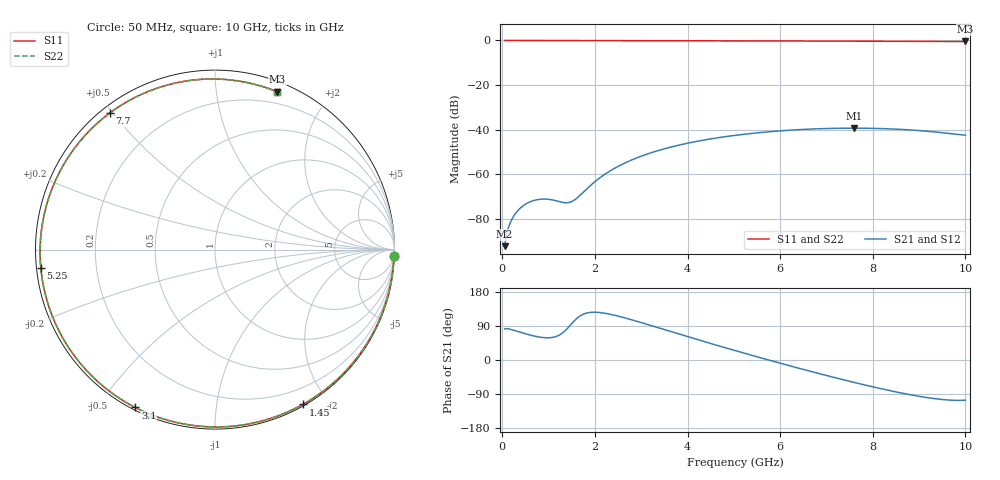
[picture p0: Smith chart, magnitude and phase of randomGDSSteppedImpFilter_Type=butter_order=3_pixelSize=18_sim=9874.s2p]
! freq	dB(S11)	phase(S11)	dB(S12)	phase(S12)
!  dB(S21)	phase(S21)	dB(S22)	phase(S22)
!S-par simulation data
#  GHz  S  DB  R 50
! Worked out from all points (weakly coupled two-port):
!   200 points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, 50 MHz to 10 GHz, reference 50 ohm
!   highest |S21| = -39.28 dB at 7.6 GHz (marker M1); lowest = -92.1 dB at 50 MHz (marker M2)
!   lowest |S11| = -0.5 dB at 10 GHz (marker M3), VSWR 35.41, Z = 4.45 + j73.3 ohm
!   |S11| at or under -10 dB: nowhere
!   |S22| runs from -0.5 to 0.0 dB; largest |S21 - S12| = 0
!   S11 on the Smith chart (normalised r, x): 50 MHz: 4, -52; 1.45 GHz: 0.02, -1.72; 3.1 GHz: 0.01, -0.62; 5.25 GHz: 0.01, -0.05; 7.7 GHz: 0.02, +0.49; 10 GHz: 0.09, +1.47
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0.05  -0.02 -2.2  -92.10 82.0  -92.10 82.0  -0.02 -2.2
0.2  -0.03 -8.7  -80.34 80.1  -80.34 80.1  -0.03 -8.7
0.4  -0.03 -17.3  -74.85 72.8  -74.85 72.8  -0.03 -17.3
0.7  -0.04 -30.1  -71.55 62.9  -71.55 62.9  -0.04 -30.1
0.95  -0.05 -40.5  -71.04 58.6  -71.04 58.6  -0.05 -40.5
1.45  -0.07 -60.4  -72.50 89.3  -72.50 89.3  -0.07 -60.4
1.55  -0.08 -64.3  -71.53 102.9  -71.53 102.9  -0.08 -64.2
1.75  -0.09 -71.8  -67.91 120.9  -67.91 120.9  -0.09 -71.7
2.05  -0.10 -82.6  -62.39 125.8  -62.39 125.8  -0.10 -82.6
2.35  -0.11 -93.0  -58.14 120.2  -58.14 120.2  -0.11 -92.9
3.1  -0.13 -116.8  -51.07 95.1  -51.07 95.1  -0.13 -116.7
3.4  -0.14 -125.6  -49.09 84.0  -49.09 84.0  -0.14 -125.6
4.2  -0.17 -147.6  -45.18 54.4  -45.18 54.4  -0.17 -147.5
5.05  -0.20 -169.1  -42.44 24.1  -42.44 24.1  -0.20 -169.0
5.25  -0.21 -174.0  -41.94 17.1  -41.94 17.1  -0.21 -173.9
5.95  -0.25 169.3  -40.57 -6.7  -40.57 -6.7  -0.25 169.3
6.7  -0.29 151.5  -39.65 -31.3  -39.65 -31.3  -0.29 151.6
7.6  -0.34 130.0  -39.28 -59.2  -39.28 -59.2  -0.34 130.1
7.7  -0.35 127.5  -39.29 -62.2  -39.29 -62.2  -0.35 127.6
8.35  -0.39 111.5  -39.58 -80.3  -39.58 -80.3  -0.39 111.6
9.2  -0.44 89.7  -40.70 -99.7  -40.70 -99.7  -0.44 89.8
10  -0.49 68.5  -42.43 -106.0  -42.43 -106.0  -0.49 68.6
